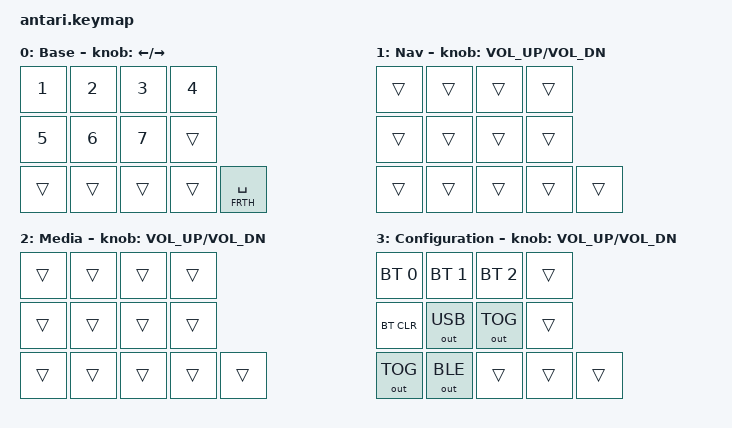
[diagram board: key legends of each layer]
/*
 * Copyright (c) 2020 The ZMK Contributors
 *
 * SPDX-License-Identifier: MIT
 */

#include <behaviors.dtsi>
#include <dt-bindings/zmk/keys.h>
#include <dt-bindings/zmk/bt.h>
#include <dt-bindings/zmk/outputs.h>

#define FRST  0
#define SCND  1
#define THRD  2
#define FRTH  3


/ {


        keymap {
                compatible = "zmk,keymap";

        base_layer {
            label = "Base";
            bindings = <
                &kp N1		&kp N2		&kp N3		&kp N4		
                &kp N5           &kp N6		&kp N7    	&trans		
                &trans		&trans		&trans		&trans		&lt FRTH SPACE	
            >;
      sensor-bindings = <&inc_dec_kp LEFT_ARROW RIGHT_ARROW>;
        };

        nav_layer {
            label = "Nav";
            bindings = <
                &trans		&trans		&trans		&trans		
                &trans		&trans		&trans		&trans		
                &trans		&trans		&trans		&trans		&trans		
            >;
      sensor-bindings = <&inc_dec_kp C_VOL_UP C_VOL_DN>;
        };

        media_layer {
            label = "Media";
            bindings = <
                &trans		&trans		&trans		&trans		
                &trans		&trans		&trans		&trans		
                &trans		&trans		&trans		&trans		&trans	
            >;
      sensor-bindings = <&inc_dec_kp C_VOL_UP C_VOL_DN>;
        };

        configuration_layer {
            label = "Configuration";
            bindings = <
                &bt BT_SEL 0	&bt BT_SEL 1	&bt BT_SEL 2	&trans
                &bt BT_CLR	&out OUT_USB	&out OUT_TOG	&trans			
                &out OUT_TOG	&out OUT_BLE	&trans		&trans	   	&trans		
            >;
      sensor-bindings = <&inc_dec_kp C_VOL_UP C_VOL_DN>;
        };

	};
};
